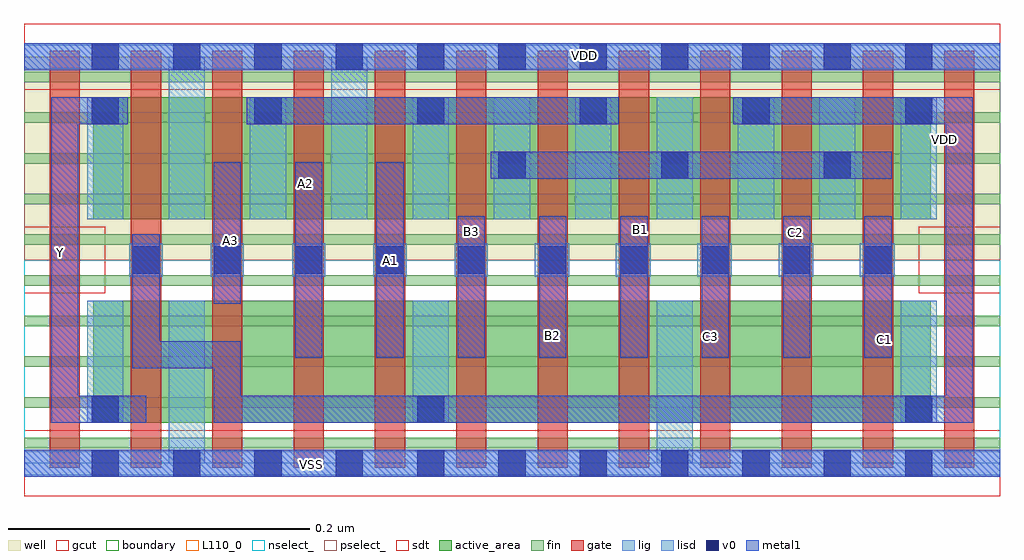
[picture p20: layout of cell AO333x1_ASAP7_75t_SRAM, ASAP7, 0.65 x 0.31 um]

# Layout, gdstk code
import gdstk
lib = gdstk.Library(unit=1e-6, precision=1e-09)
def R(c, l, rs):  # rectangles x0, y0, x1, y1
    for r in rs: c.add(gdstk.rectangle(r[:2], r[2:], *l))
def A(c, l, x, y, w, h, nx, ny, dx, dy):  # array of equal rectangles
    R(c, l, [(x+i*dx, y+j*dy, x+i*dx+w, y+j*dy+h) for i in range(nx) for j in range(ny)])
def P(c, l, *ps):  # polygons
    for p in ps: c.add(gdstk.Polygon(p, *l))
well = (1, 0)
fin = (2, 0)
gate = (7, 0)
gcut = (10, 0)
active_area = (11, 0)
nselect_ = (12, 0)
pselect_ = (13, 0)
lig = (16, 0)
lisd = (17, 0)
v0 = (18, 0)
metal1 = (19, 0)
sdt = (88, 0)
boundary = (100, 0)
L110_0 = (110, 0)

ao333x1_asap7_75t_sram = lib.new_cell('AO333x1_ASAP7_75t_SRAM')
R(ao333x1_asap7_75t_sram, well, [(0,0.135,0.648,0.27)])
A(ao333x1_asap7_75t_sram, fin, 0, 0.01, 0.648, 0.007, 1, 10, 0, 0.027)
A(ao333x1_asap7_75t_sram, gate, 0.017, -0.003, 0.02, 0.277, 12, 1, 0.054, 0)
R(ao333x1_asap7_75t_sram, gcut, [(0,-0.022,0.648,0.022), (0,0.113,0.054,0.157), (0.594,0.113,0.648,0.157), (0,0.248,0.648,0.292)])
R(ao333x1_asap7_75t_sram, active_area, [(0.046,0.027,0.602,0.108), (0.046,0.162,0.602,0.243)])
R(ao333x1_asap7_75t_sram, nselect_, [(0,0,0.648,0.135)])
R(ao333x1_asap7_75t_sram, pselect_, [(0,0.135,0.648,0.27)])
A(ao333x1_asap7_75t_sram, lig, 0.07, 0.124, 0.022, 0.022, 5, 1, 0.054, 0)
A(ao333x1_asap7_75t_sram, lig, 0.339, 0.124, 0.023, 0.022, 5, 1, 0.054, 0)
R(ao333x1_asap7_75t_sram, lig, [(0,-0.008,0.648,0.008), (0,0.262,0.648,0.278)])
A(ao333x1_asap7_75t_sram, lisd, 0.042, 0.162, 0.024, 0.081, 3, 1, 0.108, 0)
A(ao333x1_asap7_75t_sram, lisd, 0.312, 0.162, 0.024, 0.081, 6, 1, 0.054, 0)
R(ao333x1_asap7_75t_sram, lisd, [(0.096,0,0.12,0.108), (0.42,0,0.444,0.108), (0.042,0.027,0.066,0.108), (0.258,0.027,0.282,0.108), (0.582,0.027,0.606,0.108), (0.096,0.162,0.12,0.27), (0.204,0.162,0.228,0.27)])
A(ao333x1_asap7_75t_sram, v0, 0.045, -0.009, 0.018, 0.018, 11, 2, 0.054, 0.27)
A(ao333x1_asap7_75t_sram, v0, 0.072, 0.126, 0.018, 0.018, 10, 1, 0.054, 0)
A(ao333x1_asap7_75t_sram, v0, 0.315, 0.189, 0.018, 0.018, 3, 1, 0.108, 0)
A(ao333x1_asap7_75t_sram, v0, 0.045, 0.225, 0.018, 0.018, 6, 1, 0.108, 0)
R(ao333x1_asap7_75t_sram, v0, [(0.045,0.027,0.063,0.045), (0.261,0.027,0.279,0.045), (0.585,0.027,0.603,0.045)])
A(ao333x1_asap7_75t_sram, metal1, 0.288, 0.07, 0.018, 0.094, 6, 1, 0.054, 0)
R(ao333x1_asap7_75t_sram, metal1, [(0,-0.009,0.648,0.009), (0.18,0.07,0.198,0.2), (0.234,0.07,0.252,0.2), (0.126,0.106,0.144,0.2), (0.31,0.189,0.576,0.207), (0.148,0.225,0.395,0.243), (0,0.261,0.648,0.279)])
P(ao333x1_asap7_75t_sram, metal1, [(0.63,0.243),(0.471,0.243),(0.471,0.225),(0.612,0.225),(0.612,0.045),(0.144,0.045),(0.144,0.081),(0.09,0.081),(0.09,0.152),(0.072,0.152),(0.072,0.063),(0.126,0.063),(0.126,0.027),(0.63,0.027)],
  [(0.081,0.045),(0.036,0.045),(0.036,0.225),(0.069,0.225),(0.069,0.243),(0.018,0.243),(0.018,0.027),(0.081,0.027)])
A(ao333x1_asap7_75t_sram, sdt, 0.096, 0.027, 0.024, 0.081, 4, 1, 0.162, 0)
A(ao333x1_asap7_75t_sram, sdt, 0.042, 0.162, 0.024, 0.081, 11, 1, 0.054, 0)
R(ao333x1_asap7_75t_sram, sdt, [(0.042,0.027,0.066,0.108)])
R(ao333x1_asap7_75t_sram, boundary, [(0,0,0.648,0.27)])
R(ao333x1_asap7_75t_sram, L110_0, [(0,0,0.648,0.27)])
ao333x1_asap7_75t_sram.add(gdstk.Label('Y', (0.024,0.14), layer=19, texttype=251))
ao333x1_asap7_75t_sram.add(gdstk.Label('C3', (0.456,0.084), layer=19, texttype=251))
ao333x1_asap7_75t_sram.add(gdstk.Label('C2', (0.512,0.153), layer=19, texttype=251))
ao333x1_asap7_75t_sram.add(gdstk.Label('C1', (0.571,0.082), layer=19, texttype=251))
ao333x1_asap7_75t_sram.add(gdstk.Label('VDD', (0.372,0.271), layer=19, texttype=251))
ao333x1_asap7_75t_sram.add(gdstk.Label('B3', (0.297,0.154), layer=19, texttype=251))
ao333x1_asap7_75t_sram.add(gdstk.Label('VSS', (0.191,-0.001), layer=19, texttype=251))
ao333x1_asap7_75t_sram.add(gdstk.Label('B2', (0.351,0.085), layer=19, texttype=251))
ao333x1_asap7_75t_sram.add(gdstk.Label('B1', (0.409,0.155), layer=19, texttype=251))
ao333x1_asap7_75t_sram.add(gdstk.Label('A3', (0.137,0.148), layer=19, texttype=251))
ao333x1_asap7_75t_sram.add(gdstk.Label('A2', (0.187,0.186), layer=19, texttype=251))
ao333x1_asap7_75t_sram.add(gdstk.Label('A1', (0.243,0.135), layer=19, texttype=251))
ao333x1_asap7_75t_sram.add(gdstk.Label('VDD', (0.611,0.215), layer=1, texttype=251))
ao333x1_asap7_75t_sram.add(gdstk.Label('VSS', (0.378,-0.063), layer=3, texttype=251))

lib.write_gds('AO333x1_ASAP7_75t_SRAM.gds')
